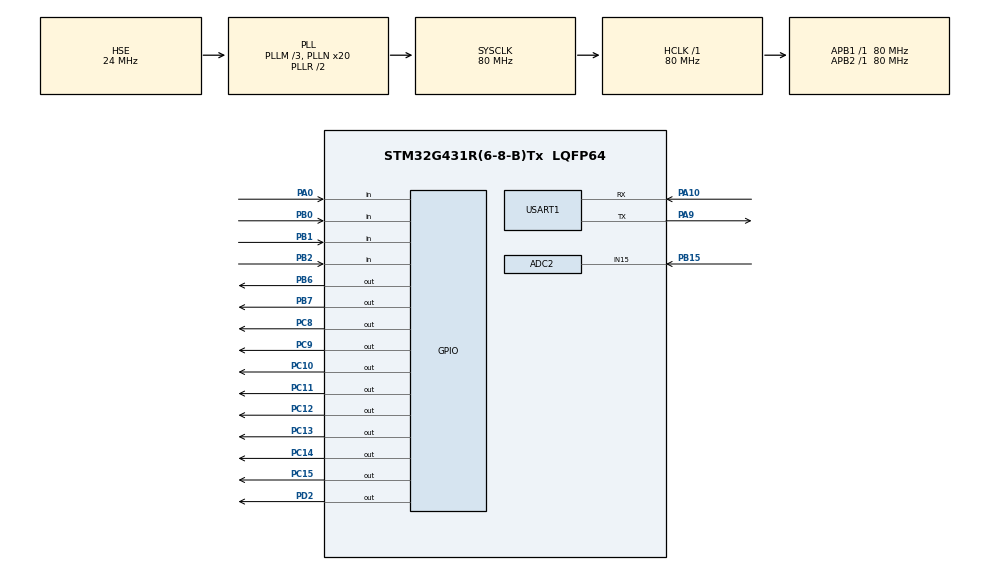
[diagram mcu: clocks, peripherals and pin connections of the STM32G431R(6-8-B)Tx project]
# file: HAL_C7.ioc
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ADC2.Channel-0\#ChannelRegularConversion=ADC_CHANNEL_15
ADC2.NbrOfConversionFlag=1
ADC2.OffsetNumber-0\#ChannelRegularConversion=ADC_OFFSET_NONE
ADC2.Rank-0\#ChannelRegularConversion=1
ADC2.SamplingTime-0\#ChannelRegularConversion=ADC_SAMPLETIME_640CYCLES_5
Dma.Request0=USART1_RX
Dma.Request1=USART1_TX
Dma.USART1_RX.0.Direction=DMA_PERIPH_TO_MEMORY
Dma.USART1_RX.0.EventEnable=DISABLE
Dma.USART1_RX.0.Instance=DMA1_Channel1
Dma.USART1_RX.0.MemDataAlignment=DMA_MDATAALIGN_BYTE
Dma.USART1_RX.0.MemInc=DMA_MINC_ENABLE
Dma.USART1_RX.0.Mode=DMA_NORMAL
Dma.USART1_RX.0.PeriphDataAlignment=DMA_PDATAALIGN_BYTE
Dma.USART1_RX.0.PeriphInc=DMA_PINC_DISABLE
Dma.USART1_RX.0.Polarity=HAL_DMAMUX_REQ_GEN_RISING
Dma.USART1_RX.0.Priority=DMA_PRIORITY_LOW
Dma.USART1_RX.0.RequestNumber=1
Dma.USART1_RX.0.SignalID=NONE
Dma.USART1_RX.0.SyncEnable=DISABLE
Dma.USART1_RX.0.SyncPolarity=HAL_DMAMUX_SYNC_NO_EVENT
Dma.USART1_RX.0.SyncRequestNumber=1
Dma.USART1_RX.0.SyncSignalID=NONE
Dma.USART1_TX.1.Direction=DMA_MEMORY_TO_PERIPH
Dma.USART1_TX.1.EventEnable=DISABLE
Dma.USART1_TX.1.Instance=DMA1_Channel2
Dma.USART1_TX.1.MemDataAlignment=DMA_MDATAALIGN_BYTE
Dma.USART1_TX.1.MemInc=DMA_MINC_ENABLE
Dma.USART1_TX.1.Mode=DMA_NORMAL
Dma.USART1_TX.1.PeriphDataAlignment=DMA_PDATAALIGN_BYTE
Dma.USART1_TX.1.PeriphInc=DMA_PINC_DISABLE
Dma.USART1_TX.1.Polarity=HAL_DMAMUX_REQ_GEN_RISING
Dma.USART1_TX.1.Priority=DMA_PRIORITY_LOW
Dma.USART1_TX.1.RequestNumber=1
Dma.USART1_TX.1.SignalID=NONE
Dma.USART1_TX.1.SyncEnable=DISABLE
Dma.USART1_TX.1.SyncPolarity=HAL_DMAMUX_SYNC_NO_EVENT
Dma.USART1_TX.1.SyncRequestNumber=1
Dma.USART1_TX.1.SyncSignalID=NONE
Mcu.Family=STM32G4
Mcu.Name=STM32G431R(6-8-B)Tx
Mcu.Package=LQFP64
NVIC.DMA1_Channel1_IRQn=true\:0\:0\:false\:false\:true\:false\:true
NVIC.DMA1_Channel2_IRQn=true\:0\:0\:false\:false\:true\:false\:true
NVIC.PriorityGroup=NVIC_PRIORITYGROUP_4
NVIC.USART1_IRQn=true\:0\:0\:false\:false\:true\:true\:true
PA0.Signal=GPIO_Input
PA10.Mode=Asynchronous
PA10.Signal=USART1_RX
PA9.Mode=Asynchronous
PA9.Signal=USART1_TX
PB0.Signal=GPIO_Input
PB1.Signal=GPIO_Input
PB15.Mode=IN15-Single-Ended
PB15.Signal=ADC2_IN15
PB2.Signal=GPIO_Input
PB6.Signal=GPIO_Output
PB7.Signal=GPIO_Output
PC10.PinState=GPIO_PIN_SET
PC10.Signal=GPIO_Output
PC11.PinState=GPIO_PIN_SET
PC11.Signal=GPIO_Output
PC12.PinState=GPIO_PIN_SET
PC12.Signal=GPIO_Output
PC13.PinState=GPIO_PIN_SET
PC13.Signal=GPIO_Output
PC14-OSC32_IN.PinState=GPIO_PIN_SET
PC14-OSC32_IN.Signal=GPIO_Output
PC15-OSC32_OUT.PinState=GPIO_PIN_SET
PC15-OSC32_OUT.Signal=GPIO_Output
PC8.PinState=GPIO_PIN_SET
PC8.Signal=GPIO_Output
PC9.PinState=GPIO_PIN_SET
PC9.Signal=GPIO_Output
PD2.Signal=GPIO_Output
PF0-OSC_IN.Mode=HSE-External-Oscillator
PF0-OSC_IN.Signal=RCC_OSC_IN
PF1-OSC_OUT.Mode=HSE-External-Oscillator
PF1-OSC_OUT.Signal=RCC_OSC_OUT
ProjectManager.HeapSize=0x200
ProjectManager.StackSize=0x400
ProjectManager.TargetToolchain=MDK-ARM V5.27
RCC.ADC12Freq_Value=80000000
RCC.AHBFreq_Value=80000000
RCC.APB1Freq_Value=80000000
RCC.APB1TimFreq_Value=80000000
RCC.APB2Freq_Value=80000000
RCC.APB2TimFreq_Value=80000000
RCC.CortexFreq_Value=80000000
RCC.EXTERNAL_CLOCK_VALUE=12288000
RCC.HCLKFreq_Value=80000000
RCC.HSE_VALUE=24000000
RCC.HSI48_VALUE=48000000
RCC.HSI_VALUE=16000000
RCC.LSE_VALUE=32768
RCC.PLLM=RCC_PLLM_DIV3
RCC.PLLN=20
RCC.PLLSourceVirtual=RCC_PLLSOURCE_HSE
RCC.SYSCLKFreq_VALUE=80000000
RCC.SYSCLKSource=RCC_SYSCLKSOURCE_PLLCLK
RCC.USBFreq_Value=80000000
RCC.VCOOutputFreq_Value=160000000
USART1.VirtualMode-Asynchronous=VM_ASYNC
VP_SYS_VS_DBSignals.Mode=DisableDeadBatterySignals
board=custom

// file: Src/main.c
/* USER CODE BEGIN Header */
/**
  ******************************************************************************
  * @file           : main.c
  * @brief          : Main program body
  ******************************************************************************
  * @attention
  *
  * <h2><center>&copy; Copyright (c) 2024 STMicroelectronics.
  * All rights reserved.</center></h2>
  *
  * This software component is licensed by ST under BSD 3-Clause license,
  * the "License"; You may not use this file except in compliance with the
  * License. You may obtain a copy of the License at:
  *                        opensource.org/licenses/BSD-3-Clause
  *
  ******************************************************************************
  */
/* USER CODE END Header */

#include "main.h"
#include "adc.h"
#include "dma.h"
#include "usart.h"
#include "gpio.h"

/* USER CODE BEGIN Includes */
#include "i2c_hal.h"
#include "lcd_hal.h"
#include "string.h"
#include <stdio.h>
#include "led.h"
/* USER CODE END Includes */

/* USER CODE BEGIN PTD */
typedef enum
{
	Key_Check,
	Key_Press,
	Key_Release,
	Key_Over
}Key_State;
/* USER CODE END PTD */

/* USER CODE BEGIN PD */
#define K1 HAL_GPIO_ReadPin(GPIOB, GPIO_PIN_0)
#define K2 HAL_GPIO_ReadPin(GPIOB, GPIO_PIN_1)
#define K3 HAL_GPIO_ReadPin(GPIOB, GPIO_PIN_2)
#define K4 HAL_GPIO_ReadPin(GPIOA, GPIO_PIN_0)

#define Press GPIO_PIN_RESET
#define Release GPIO_PIN_SET
/* USER CODE END PD */

/* USER CODE BEGIN PV */
uint8_t Str[20] = "              ";
uint8_t RX[1] = " ";
Key_State KeyState;
uint8_t KeyNum;
uint16_t Key_Press_Time = 20;
uint8_t RecCount;

uint8_t Flag_ADC;
uint8_t LCD_Select;
uint8_t Level, Level_Past, Limit_1 = 30, Limit_2 = 50, Limit_3 = 70;
float Volt, Height;
uint8_t Flag_Limit_Select;
uint8_t Flag_Level_LED2, Flag_LED3, Flag_Level_Past, Flag_State;

/* USER CODE END PV */

void SystemClock_Config(void);
/* USER CODE BEGIN PFP */
extern  DMA_HandleTypeDef  hdma_usart1_rx;
extern  DMA_HandleTypeDef  hdma_usart1_tx;

void LCD_HighLight(uint8_t Line, uint8_t *LCD_Show, uint8_t pos, uint8_t add);
void LCD_Show(void);
float getADC_R37(void);
/* USER CODE END PFP */

/* USER CODE BEGIN 0 */

void HAL_UART_IdleCpltCallback(UART_HandleTypeDef *huart)
{
	RecCount = 1 - __HAL_DMA_GET_COUNTER(&hdma_usart1_rx);
//	HAL_UART_Transmit_DMA(&huart1, (uint8_t *)RX, 1);
	RecCount = 0;
	LED_TRG(6);
	if(RX[0] == 'C')
	{
		sprintf((char *)Str, "C:H%.0f+L %d\r\n", Height, Level);
		HAL_UART_Transmit_DMA(&huart1, Str, strlen((char *)Str));
		RX[0] = ' ';
		Flag_LED3 = 1;
	}
	else if(RX[0] == 'S')
	{
		sprintf((char *)Str, "S:TL%d+TM%d+TH%d\r\n", Limit_1, Limit_2, Limit_3);
		HAL_UART_Transmit_DMA(&huart1, Str, strlen((char *)Str));
		RX[0] = ' ';
		Flag_LED3 = 1;
	}

	if(Flag_Level_Past == 1)
	{
		if(Level > Level_Past)
		{
			sprintf((char *)Str, "A:H%.0f+L %d+D\r\n", Height, Level);
			HAL_UART_Transmit_DMA(&huart1, Str, strlen((char *)Str));
		}
		else if(Level < Level_Past)
		{
			sprintf((char *)Str, "A:H%.0f+L %d+U\r\n", Height, Level);
			HAL_UART_Transmit_DMA(&huart1, Str, strlen((char *)Str));
		}
	}
	HAL_UART_Receive_DMA(&huart1, RX, 1);
}
/* US
ER CODE END 0 */

int main(void)
{

  /* MCU Configuration--------------------------------------------------------*/

  /* Reset of all peripherals, Initializes the Flash interface and the Systick. */
  HAL_Init();

  /* Configure the system clock */
  SystemClock_Config();

  /* Initialize all configured peripherals */
  MX_GPIO_Init();
  MX_DMA_Init();
  MX_ADC2_Init();
  MX_USART1_UART_Init();
  /* USER CODE BEGIN 2 */
  LED_Init();

  HAL_UART_Receive_DMA(&huart1, RX, 1);
  __HAL_UART_ENABLE_IT(&huart1, UART_IT_IDLE);

  LCD_Init();
  LCD_Clear(Black);
  LCD_SetBackColor(Black);
  LCD_SetTextColor(White);

//	x24C02_Write(0x01, 30);
//	x24C02_Write(0x02, 50);
//	x24C02_Write(0x03, 70);
  Limit_1 = x24C02_Read(0x01);
  Limit_2 = x24C02_Read(0x02);
  Limit_3 = x24C02_Read(0x03);
  /* USER CODE END 2 */

  /* Infinite loop */
  /* USER CODE BEGIN WHILE */
  while (1)
  {
	  if(KeyState == Key_Over)
	  {
		  KeyState = Key_Check;
		  if(KeyNum == 1)
		  {
			  LCD_Select = !LCD_Select;
			  Flag_State = !Flag_State;
		  }
		  else if(KeyNum == 2)
		  {
			  Flag_Limit_Select ++;
			  Flag_Limit_Select %= 3;
		  }
		  else if(KeyNum == 3)
		  {
			  if(Flag_Limit_Select == 0)
			  {
				  Limit_1 += 5;
				  if(Limit_1 == 100)Limit_1 = 95;
			  }
			  else if(Flag_Limit_Select == 1)
			  {
				  Limit_2 += 5;
				  if(Limit_2 == 100)Limit_2 = 95;
			  }
			  else if(Flag_Limit_Select == 2)
			  {
				  Limit_3 += 5;
				  if(Limit_3 == 100)Limit_3 = 95;
			  }
			  x24C02_Write(0x01, Limit_1);
			  x24C02_Write(0x02, Limit_2);
			  x24C02_Write(0x03, Limit_3);
		  }
		  else if(KeyNum == 4)
		  {
			  if(Flag_Limit_Select == 0)
			  {
				  Limit_1 -= 5;
				  if(Limit_1 == 0)Limit_1 = 5;
			  }
			  else if(Flag_Limit_Select == 1)
			  {
				  Limit_2 -= 5;
				  if(Limit_2 == 0)Limit_2 = 5;
			  }
			  else if(Flag_Limit_Select == 2)
			  {
				  Limit_3 -= 5;
				  if(Limit_3 == 0)Limit_3 = 5;
			  }
			  x24C02_Write(0x01, Limit_1);
			  x24C02_Write(0x02, Limit_2);
			  x24C02_Write(0x03, Limit_3);
		  }
		  Key_Press_Time = 0;
	  }

	  Level_Past = Level;
	  if(Height <= Limit_1)Level = 0;
	  else if(Height > Limit_1 && Height <= Limit_2)Level = 1;
	  else if(Height > Limit_2 && Height <= Limit_3)Level = 2;
	  else if(Height > Limit_3)Level = 3;
	  if(Level_Past != Level)
	  {
		  Flag_Level_Past = 1;
	  }

	  if(Flag_ADC == 1)
	  {
		  Volt = getADC_R37();
		  Height = (Volt * 100.0f / 3.3f);
	  }

	  LCD_Show();

    /* USER CODE END WHILE */

  }
}

void SystemClock_Config(void)
{
  RCC_OscInitTypeDef RCC_OscInitStruct = {0};
  RCC_ClkInitTypeDef RCC_ClkInitStruct = {0};
  RCC_PeriphCLKInitTypeDef PeriphClkInit = {0};

  /** Configure the main internal regulator output voltage
  */
  HAL_PWREx_ControlVoltageScaling(PWR_REGULATOR_VOLTAGE_SCALE1);
  /** Initializes the CPU, AHB and APB busses clocks
  */
  RCC_OscInitStruct.OscillatorType = RCC_OSCILLATORTYPE_HSE;
  RCC_OscInitStruct.HSEState = RCC_HSE_ON;
  RCC_OscInitStruct.PLL.PLLState = RCC_PLL_ON;
  RCC_OscInitStruct.PLL.PLLSource = RCC_PLLSOURCE_HSE;
  RCC_OscInitStruct.PLL.PLLM = RCC_PLLM_DIV3;
  RCC_OscInitStruct.PLL.PLLN = 20;
  RCC_OscInitStruct.PLL.PLLP = RCC_PLLP_DIV2;
  RCC_OscInitStruct.PLL.PLLQ = RCC_PLLQ_DIV2;
  RCC_OscInitStruct.PLL.PLLR = RCC_PLLR_DIV2;
  if (HAL_RCC_OscConfig(&RCC_OscInitStruct) != HAL_OK)
  {
    Error_Handler();
  }
  /** Initializes the CPU, AHB and APB busses clocks
  */
  RCC_ClkInitStruct.ClockType = RCC_CLOCKTYPE_HCLK|RCC_CLOCKTYPE_SYSCLK
                              |RCC_CLOCKTYPE_PCLK1|RCC_CLOCKTYPE_PCLK2;
  RCC_ClkInitStruct.SYSCLKSource = RCC_SYSCLKSOURCE_PLLCLK;
  RCC_ClkInitStruct.AHBCLKDivider = RCC_SYSCLK_DIV1;
  RCC_ClkInitStruct.APB1CLKDivider = RCC_HCLK_DIV1;
  RCC_ClkInitStruct.APB2CLKDivider = RCC_HCLK_DIV1;

  if (HAL_RCC_ClockConfig(&RCC_ClkInitStruct, FLASH_LATENCY_3) != HAL_OK)
  {
    Error_Handler();
  }
  /** Initializes the peripherals clocks
  */
  PeriphClkInit.PeriphClockSelection = RCC_PERIPHCLK_USART1|RCC_PERIPHCLK_ADC12;
  PeriphClkInit.Usart1ClockSelection = RCC_USART1CLKSOURCE_PCLK2;
  PeriphClkInit.Adc12ClockSelection = RCC_ADC12CLKSOURCE_SYSCLK;
  if (HAL_RCCEx_PeriphCLKConfig(&PeriphClkInit) != HAL_OK)
  {
    Error_Handler();
  }
}

/* USER CODE BEGIN 4 */
void LCD_Show(void)
{
	if(LCD_Select == 0)
	  {
		  LCD_DisplayStringLine(Line0, (uint8_t *)"                   ");
		  LCD_DisplayStringLine(Line1, (uint8_t *)"    Liquid Level   ");
		  LCD_DisplayStringLine(Line2, (uint8_t *)"                   ");
		  sprintf((char *)Str, "     Height:%.0fcm    ", Height);
		  LCD_DisplayStringLine(Line3, Str);
		  LCD_DisplayStringLine(Line4, (uint8_t *)"                   ");
		  sprintf((char *)Str, "     ADC:%.2f     ", Volt);
		  LCD_DisplayStringLine(Line5, Str);
		  LCD_DisplayStringLine(Line6, (uint8_t *)"                   ");
		  sprintf((char *)Str, "     Level:%d        ", Level);
		  LCD_DisplayStringLine(Line7, Str);
		  LCD_DisplayStringLine(Line8, (uint8_t *)"                   ");
		  LCD_DisplayStringLine(Line9, (uint8_t *)"                   ");
	  }
	  else if(LCD_Select == 1)
	  {
		  LCD_DisplayStringLine(Line0, (uint8_t *)"                    ");
		  LCD_DisplayStringLine(Line1, (uint8_t *)"    Parameter Setup ");
		  LCD_DisplayStringLine(Line2, (uint8_t *)"                    ");
		  LCD_DisplayStringLine(Line4, (uint8_t *)"                    ");
		  LCD_DisplayStringLine(Line6, (uint8_t *)"                    ");
		  LCD_DisplayStringLine(Line8, (uint8_t *)"                    ");
		  LCD_DisplayStringLine(Line9, (uint8_t *)"                    ");

		  if(Flag_Limit_Select == 0)
		  {
			  sprintf((char *)Str, "  Threshold 1:%dcm  ", Limit_1);
			  LCD_HighLight(3, Str, 0, 20);
			  sprintf((char *)Str, "  Threshold 2:%dcm  ", Limit_2);
			  LCD_DisplayStringLine(Line5, Str);
			  sprintf((char *)Str, "  Threshold 3:%dcm  ", Limit_3);
			  LCD_DisplayStringLine(Line7, Str);
		  }
		  else if(Flag_Limit_Select == 1)
		  {
			  sprintf((char *)Str, "  Threshold 1:%dcm  ", Limit_1);
			  LCD_DisplayStringLine(Line3, Str);
			  sprintf((char *)Str, "  Threshold 2:%dcm  ", Limit_2);
			  LCD_HighLight(5, Str, 0, 20);
			  sprintf((char *)Str, "  Threshold 3:%dcm  ", Limit_3);
			  LCD_DisplayStringLine(Line7, Str);
		  }
		  else if(Flag_Limit_Select == 2)
		  {
			  sprintf((char *)Str, "  Threshold 1:%dcm  ", Limit_1);
			  LCD_DisplayStringLine(Line3, Str);
			  sprintf((char *)Str, "  Threshold 2:%dcm  ", Limit_2);
			  LCD_DisplayStringLine(Line5, Str);
			  sprintf((char *)Str, "  Threshold 3:%dcm  ", Limit_3);
			  LCD_HighLight(7, Str, 0, 20);
		  }

	  }
}
void LCD_HighLight(uint8_t Line, uint8_t *LCD_Show, uint8_t pos, uint8_t add)
{
	uint8_t i;
	for(i = 0; i < 20; i++)
	{
		if(i != pos)LCD_DisplayChar(24 * Line, 320 - (16 * i), LCD_Show[i]);
		else i += add;
	}
	LCD_SetBackColor(White);
	LCD_SetTextColor(Black);
	for(i = 0; i < add; i++)
	{
		LCD_DisplayChar(24 * Line, 320 - (16 * (i + pos)), LCD_Show[i + pos]);
	}
	LCD_SetBackColor(Black);
	LCD_SetTextColor(White);
}
void Key_Scan(void)
{
	switch (KeyState)
	{
		case Key_Check:
		{
			if(K1 == Press || K2 == Press || K3 == Press || K4 == Press)
			{
				KeyState = Key_Press;
			}
		}
		break;
		case Key_Press:
		{
			if(K1 == Press)KeyNum = 1;
			else if(K2 == Press)KeyNum = 2;
			else if(K3 == Press)KeyNum = 3;
			else if(K4 == Press)KeyNum = 4;
			KeyState = Key_Release;
		}
		break;
		case Key_Release:
		{
			if(K1 == Press || K2 == Press || K3 == Press || K4 == Press)
			{
				Key_Press_Time += 10;
			}
			else
			{
				KeyState = Key_Over;
			}
		}
		break;
		default:
		break;
	}
}

float getADC_R37(void)
{
	uint16_t adc;
	HAL_ADC_Start(&hadc2);
	HAL_ADC_PollForConversion(&hadc2, 10);
	adc = HAL_ADC_GetValue(&hadc2);
	HAL_ADC_Stop(&hadc2);
	return (adc * 3.3f / 4096.0f);
}
/* USER CODE END 4 */

void Error_Handler(void)
{
}

/************************ (C) COPYRIGHT STMicroelectronics *****END OF FILE****/
